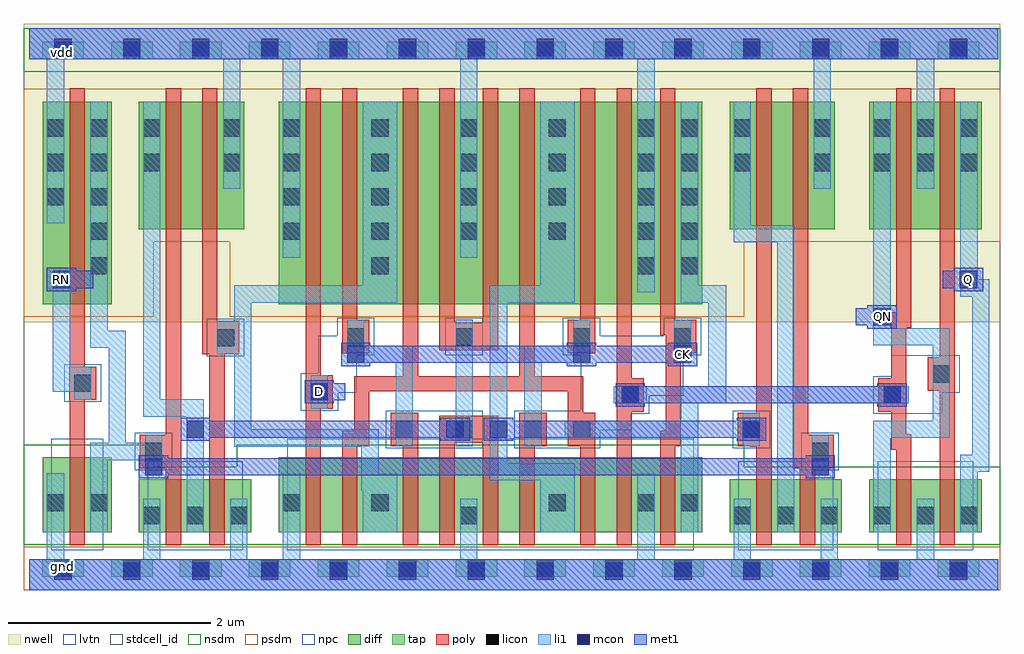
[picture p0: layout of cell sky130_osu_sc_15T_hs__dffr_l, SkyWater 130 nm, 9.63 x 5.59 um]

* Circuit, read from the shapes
.subckt sky130_osu_sc_15T_hs__dffr_l CK D Q QN RN gnd vdd
XM1 n1 RN gnd gnd sky130_fd_pr__nfet_01v8_lvt w=0.74 l=0.15
XM2 n2 n1 gnd gnd sky130_fd_pr__nfet_01v8_lvt w=0.52 l=0.15
XM3 gnd n3 n2 gnd sky130_fd_pr__nfet_01v8_lvt w=0.52 l=0.15
XM4 n4 D gnd gnd sky130_fd_pr__nfet_01v8_lvt w=0.74 l=0.15
XM5 n3 n5 n4 gnd sky130_fd_pr__nfet_01v8_lvt w=0.74 l=0.15
XM6 n6 CK n3 gnd sky130_fd_pr__nfet_01v8_lvt w=0.74 l=0.15
XM7 gnd n2 n6 gnd sky130_fd_pr__nfet_01v8_lvt w=0.74 l=0.15
XM8 n7 n2 gnd gnd sky130_fd_pr__nfet_01v8_lvt w=0.74 l=0.15
XM9 n8 CK n7 gnd sky130_fd_pr__nfet_01v8_lvt w=0.74 l=0.15
XM10 n9 n5 n8 gnd sky130_fd_pr__nfet_01v8_lvt w=0.74 l=0.15
XM11 gnd n10 n9 gnd sky130_fd_pr__nfet_01v8_lvt w=0.74 l=0.15
XM12 n5 CK gnd gnd sky130_fd_pr__nfet_01v8_lvt w=0.74 l=0.15
XM13 n10 n8 gnd gnd sky130_fd_pr__nfet_01v8_lvt w=0.52 l=0.15
XM14 gnd n1 n10 gnd sky130_fd_pr__nfet_01v8_lvt w=0.52 l=0.15
XM15 gnd n10 QN gnd sky130_fd_pr__nfet_01v8_lvt w=0.52 l=0.15
XM16 Q QN gnd gnd sky130_fd_pr__nfet_01v8_lvt w=0.52 l=0.15
XM17 n1 RN vdd vdd sky130_fd_pr__pfet_01v8 w=2 l=0.15
XM18 n11 n1 n2 vdd sky130_fd_pr__pfet_01v8 w=1.26 l=0.15
XM19 vdd n3 n11 vdd sky130_fd_pr__pfet_01v8 w=1.26 l=0.15
XM20 n12 D vdd vdd sky130_fd_pr__pfet_01v8 w=2 l=0.15
XM21 n3 CK n12 vdd sky130_fd_pr__pfet_01v8 w=2 l=0.15
XM22 n13 n5 n3 vdd sky130_fd_pr__pfet_01v8 w=2 l=0.15
XM23 vdd n2 n13 vdd sky130_fd_pr__pfet_01v8 w=2 l=0.15
XM24 n14 n2 vdd vdd sky130_fd_pr__pfet_01v8 w=2 l=0.15
XM25 n8 n5 n14 vdd sky130_fd_pr__pfet_01v8 w=2 l=0.15
XM26 n15 CK n8 vdd sky130_fd_pr__pfet_01v8 w=2 l=0.15
XM27 vdd n10 n15 vdd sky130_fd_pr__pfet_01v8 w=2 l=0.15
XM28 n5 CK vdd vdd sky130_fd_pr__pfet_01v8 w=2 l=0.15
XM29 n16 n8 n10 vdd sky130_fd_pr__pfet_01v8 w=1.26 l=0.15
XM30 vdd n1 n16 vdd sky130_fd_pr__pfet_01v8 w=1.26 l=0.15
XM31 vdd n10 QN vdd sky130_fd_pr__pfet_01v8 w=1.26 l=0.15
XM32 Q QN vdd vdd sky130_fd_pr__pfet_01v8 w=1.26 l=0.15
.ends

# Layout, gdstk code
import gdstk
lib = gdstk.Library(unit=1e-6, precision=1e-09)
def R(c, l, rs):  # rectangles x0, y0, x1, y1
    for r in rs: c.add(gdstk.rectangle(r[:2], r[2:], *l))
def A(c, l, x, y, w, h, nx, ny, dx, dy):  # array of equal rectangles
    R(c, l, [(x+i*dx, y+j*dy, x+i*dx+w, y+j*dy+h) for i in range(nx) for j in range(ny)])
nwell = (64, 20)
diff = (65, 20)
tap = (65, 44)
poly = (66, 20)
licon = (66, 44)
li1 = (67, 20)
mcon = (67, 44)
met1 = (68, 20)
stdcell_id = (81, 4)
nsdm = (93, 44)
psdm = (94, 20)
npc = (95, 20)
lvtn = (125, 44)

sky130_osu_sc_15t_hs__df = lib.new_cell('sky130_osu_sc_15T_hs__dffr_l')
R(sky130_osu_sc_15t_hs__df, nwell, [(-0.05,2.645,9.585,5.595)])
R(sky130_osu_sc_15t_hs__df, diff, [(0.135,0.575,0.815,1.315), (1.085,0.575,2.195,1.095), (2.465,0.575,6.645,1.315), (6.915,0.575,8.025,1.095), (8.295,0.575,9.405,1.095), (0.135,2.825,0.815,4.825), (2.465,2.825,6.645,4.825), (1.085,3.565,2.125,4.825), (6.915,3.565,7.955,4.825), (8.295,3.565,9.405,4.825)])
A(sky130_osu_sc_15t_hs__df, tap, 0.13, 0.135, 0.41, 0.17, 14, 2, 0.68, 5.11)
R(sky130_osu_sc_15t_hs__df, poly, [(0.4,0.445,0.55,1.875), (1.35,0.445,1.5,1.205), (1.78,0.445,1.93,2.33), (2.73,0.445,2.88,1.795), (3.09,0.445,3.24,1.425), (3.69,0.445,3.84,1.425), (4.05,0.445,4.2,1.455), (4.48,0.445,4.63,1.455), (4.84,0.445,4.99,1.425), (5.44,0.445,5.59,1.425), (5.8,0.445,5.95,1.765), (6.23,0.445,6.38,1.425), (7.18,0.445,7.33,1.42), (7.61,0.445,7.76,1.205), (8.56,0.445,8.71,1.39), (8.99,0.445,9.14,1.97), (1.095,1.205,1.5,1.535), (7.54,1.205,7.945,1.535), (8.51,1.39,8.71,1.54), (7.115,1.42,7.33,1.425), (3.09,1.425,3.36,1.575), (3.57,1.425,3.84,1.755), (4.84,1.425,5.11,1.755), (5.32,1.425,5.59,1.755), (6.23,1.425,6.435,1.575), (6.995,1.425,7.33,1.755), (4.05,1.455,4.63,1.725), (1.35,1.535,1.5,4.955), (7.54,1.535,7.69,4.955), (8.51,1.54,8.66,1.765), (3.21,1.575,3.36,1.965), (6.285,1.575,6.435,2.34), (5.32,1.755,5.47,1.965), (7.18,1.755,7.33,4.955), (5.8,1.765,6.07,2.095), (8.385,1.765,8.66,2.095), (2.73,1.795,3,2.125), (0.395,1.875,0.55,1.88), (0.395,1.88,0.665,2.21), (3.21,1.965,5.47,2.115), (8.87,1.97,9.14,2.3), (5.8,2.095,5.95,4.955), (8.51,2.095,8.66,2.595), (3.69,2.115,3.84,4.955), (4.84,2.115,4.99,4.955), (2.73,2.125,2.88,4.955), (0.4,2.21,0.55,4.955), (8.99,2.3,9.14,4.955), (1.71,2.33,2.075,2.66), (3.09,2.34,3.36,2.67), (5.32,2.34,5.59,2.67), (6.285,2.34,6.585,2.52), (4.05,2.37,4.63,2.64), (6.23,2.52,6.585,2.67), (8.51,2.595,8.71,2.745), (4.05,2.64,4.2,4.955), (4.48,2.64,4.63,4.955), (1.71,2.66,1.86,4.955), (3.09,2.67,3.24,4.955), (5.44,2.67,5.59,4.955), (6.23,2.67,6.38,4.955), (8.56,2.745,8.71,4.955)])
A(sky130_osu_sc_15t_hs__df, licon, 0.25, 0.135, 0.17, 0.17, 14, 2, 0.68, 5.11)
A(sky130_osu_sc_15t_hs__df, licon, 1.125, 0.655, 0.17, 0.17, 3, 1, 0.43, 0)
A(sky130_osu_sc_15t_hs__df, licon, 6.955, 0.655, 0.17, 0.17, 3, 1, 0.43, 0)
A(sky130_osu_sc_15t_hs__df, licon, 8.335, 0.655, 0.17, 0.17, 3, 2, 0.43, 3.485)
A(sky130_osu_sc_15t_hs__df, licon, 0.605, 3.12, 0.17, 0.17, 1, 5, 0, 0.34)
A(sky130_osu_sc_15t_hs__df, licon, 6.435, 3.12, 0.17, 0.17, 1, 5, 0, 0.34)
A(sky130_osu_sc_15t_hs__df, licon, 2.505, 3.46, 0.17, 0.17, 5, 4, 0.875, 0.34)
A(sky130_osu_sc_15t_hs__df, licon, 0.175, 3.8, 0.17, 0.17, 1, 3, 0, 0.34)
A(sky130_osu_sc_15t_hs__df, licon, 8.335, 4.48, 0.17, 0.17, 3, 1, 0.43, 0)
R(sky130_osu_sc_15t_hs__df, licon, [(4.255,0.655,4.425,0.825), (0.175,0.78,0.345,0.95), (0.605,0.78,0.775,0.95), (2.505,0.78,2.675,0.95), (3.38,0.78,3.55,0.95), (5.13,0.78,5.3,0.95), (6.005,0.78,6.175,0.95), (6.435,0.78,6.605,0.95), (1.145,1.285,1.315,1.455), (7.725,1.285,7.895,1.455), (3.62,1.505,3.79,1.675), (4.21,1.505,4.38,1.675), (4.89,1.505,5.06,1.675), (5.37,1.505,5.54,1.675), (7.045,1.505,7.215,1.675), (5.85,1.845,6.02,2.015), (8.435,1.845,8.605,2.015), (2.78,1.875,2.95,2.045), (0.445,1.96,0.615,2.13), (8.92,2.05,9.09,2.22), (1.855,2.41,2.025,2.58), (3.14,2.42,3.31,2.59), (4.21,2.42,4.38,2.59), (5.37,2.42,5.54,2.59), (6.365,2.42,6.535,2.59), (3.38,3.12,3.55,3.29), (6.005,3.12,6.175,3.29), (1.125,4.14,1.295,4.31), (1.915,4.14,2.085,4.31), (6.955,4.14,7.125,4.31), (7.745,4.14,7.915,4.31), (1.125,4.48,1.295,4.65), (1.915,4.48,2.085,4.65), (6.955,4.48,7.125,4.65), (7.745,4.48,7.915,4.65)])
R(sky130_osu_sc_15t_hs__df, li1, [(0,0,9.57,0.305), (0.175,0.305,0.345,1.155), (1.125,0.305,1.295,0.905), (1.985,0.305,2.155,0.905), (2.505,0.305,2.675,1.155), (4.255,0.305,4.425,0.905), (6.005,0.305,6.175,1.155), (6.955,0.305,7.125,0.905), (7.815,0.305,7.985,0.905), (8.765,0.305,8.935,0.905), (0.605,0.575,0.775,1.285), (1.555,0.575,1.725,1.715), (3.295,0.575,3.635,0.985), (5.045,0.575,5.385,1.085), (6.435,0.575,6.605,1.505), (7.385,0.575,7.555,1.845), (8.335,0.575,8.505,1.505), (9.195,0.575,9.365,1.17), (3.28,0.985,3.635,1.155), (4.55,1.085,5.385,1.255), (1.145,1.135,1.315,1.285), (7.725,1.135,7.895,1.535), (3.28,1.155,3.45,1.42), (9.195,1.17,9.48,1.34), (4.55,1.255,4.72,2.84), (0.605,1.285,1.315,1.455), (9.31,1.34,9.48,2.9), (2.025,1.42,3.45,1.59), (3.62,1.425,3.79,2.245), (4.21,1.425,4.38,1.505), (4.89,1.425,5.06,2.245), (7.045,1.425,7.215,1.755), (0.785,1.455,0.955,2.395), (1.145,1.455,1.315,1.535), (4.12,1.505,4.38,1.675), (5.29,1.505,6.605,1.675), (8.335,1.505,9.09,1.675), (2.025,1.59,2.195,2.33), (4.21,1.675,4.38,2.67), (6.435,1.675,6.605,1.845), (8.92,1.675,9.09,2.42), (1.125,1.715,1.725,1.885), (2.78,1.795,2.95,2.125), (5.77,1.845,6.1,2.015), (6.435,1.845,6.885,2.015), (7.385,1.845,8.685,2.015), (0.445,1.88,0.615,1.96), (1.125,1.885,1.295,4.825), (0.235,1.96,0.615,2.21), (6.705,2.015,6.885,2.84), (7.385,2.015,7.555,3.435), (0.235,2.21,0.405,3.155), (3.14,2.245,3.79,2.415), (4.89,2.245,5.54,2.415), (6.365,2.245,6.535,2.67), (1.855,2.33,2.195,2.66), (0.605,2.395,0.955,2.565), (3.14,2.415,3.31,2.67), (5.37,2.415,5.54,2.67), (8.335,2.42,9.09,2.59), (0.605,2.565,0.775,4.825), (8.335,2.59,8.505,4.825), (2.025,2.66,2.195,2.84), (2.025,2.84,3.635,3.01), (4.55,2.84,5.385,3.01), (6.435,2.84,6.885,3.01), (9.195,2.9,9.48,2.985), (6.005,2.945,6.175,5.245), (9.19,2.985,9.48,3.07), (3.295,3.01,3.635,4.825), (5.045,3.01,5.385,4.825), (6.435,3.01,6.605,4.825), (9.19,3.07,9.365,3.155), (9.195,3.155,9.365,4.825), (2.505,3.285,2.675,5.245), (4.255,3.285,4.425,5.245), (6.955,3.435,7.555,3.605), (6.955,3.605,7.125,4.825), (0.175,3.625,0.345,5.245), (1.915,3.965,2.085,5.245), (7.745,3.965,7.915,5.245), (8.765,3.965,8.935,5.245), (0,5.245,9.57,5.55)])
A(sky130_osu_sc_15t_hs__df, mcon, 0.25, 0.105, 0.17, 0.17, 14, 2, 0.68, 5.17)
R(sky130_osu_sc_15t_hs__df, mcon, [(1.145,1.135,1.315,1.305), (7.725,1.135,7.895,1.305), (1.555,1.505,1.725,1.675), (4.12,1.505,4.29,1.675), (4.55,1.505,4.72,1.675), (7.045,1.505,7.215,1.675), (5.85,1.845,6.02,2.015), (8.435,1.845,8.605,2.015), (2.78,1.875,2.95,2.045), (3.14,2.245,3.31,2.415), (5.37,2.245,5.54,2.415), (6.365,2.245,6.535,2.415), (8.335,2.615,8.505,2.785), (0.235,2.985,0.405,3.155), (9.19,2.985,9.36,3.155)])
R(sky130_osu_sc_15t_hs__df, met1, [(0,0,9.57,0.305), (1.085,1.105,1.375,1.135), (7.665,1.105,7.955,1.135), (1.085,1.135,7.955,1.305), (1.085,1.305,1.375,1.335), (7.665,1.305,7.955,1.335), (1.495,1.475,1.785,1.505), (4.06,1.475,4.35,1.505), (4.49,1.475,4.78,1.505), (6.985,1.475,7.275,1.505), (1.495,1.505,4.35,1.675), (4.49,1.505,7.275,1.675), (1.495,1.675,1.785,1.705), (4.06,1.675,4.35,1.705), (4.49,1.675,4.78,1.705), (6.985,1.675,7.275,1.705), (5.79,1.815,6.08,1.845), (8.375,1.815,8.665,1.845), (2.72,1.845,3.01,1.875), (5.79,1.845,8.665,2.015), (2.72,1.875,3.12,2.045), (5.79,2.015,6.08,2.045), (8.375,2.015,8.665,2.045), (2.72,2.045,3.01,2.075), (3.08,2.215,3.37,2.245), (5.31,2.215,5.6,2.245), (6.305,2.215,6.595,2.245), (3.08,2.245,6.595,2.415), (3.08,2.415,3.37,2.445), (5.31,2.415,5.6,2.445), (6.305,2.415,6.595,2.445), (8.275,2.585,8.565,2.615), (8.16,2.615,8.565,2.785), (8.275,2.785,8.565,2.815), (0.175,2.955,0.465,2.985), (9.13,2.955,9.42,2.985), (0.175,2.985,0.635,3.155), (9.02,2.985,9.42,3.155), (0.175,3.155,0.465,3.185), (9.13,3.155,9.42,3.185), (0,5.245,9.57,5.55)])
R(sky130_osu_sc_15t_hs__df, stdcell_id, [(-0.05,0,9.585,5.55)])
R(sky130_osu_sc_15t_hs__df, nsdm, [(-0.05,0.45,9.585,1.22), (-0.05,1.22,1.23,1.44), (2.05,1.22,7.06,1.44), (-0.05,5.12,9.585,5.55)])
R(sky130_osu_sc_15t_hs__df, psdm, [(-0.05,0,9.585,0.43), (-0.05,2.7,1.23,3.44), (1.98,2.7,7.06,3.44), (-0.05,3.44,9.585,4.95)])
R(sky130_osu_sc_15t_hs__df, npc, [(1.045,1.185,1.415,1.555), (7.625,1.185,7.995,1.555), (3.52,1.405,4.48,1.775), (4.79,1.405,5.64,1.58), (6.945,1.405,7.315,1.775), (4.79,1.58,5.945,1.745), (4.79,1.745,6.12,1.775), (8.335,1.745,9.015,1.95), (2.68,1.775,3.05,1.95), (5.445,1.775,6.12,1.92), (0.345,1.86,0.715,2.23), (5.445,1.92,6.46,2.32), (2.68,1.95,3.235,2.145), (8.335,1.95,9.19,2.115), (8.51,2.115,9.19,2.32), (2.855,2.145,3.235,2.32), (1.755,2.31,2.125,2.68), (2.855,2.32,3.41,2.515), (4.11,2.32,4.48,2.69), (5.27,2.32,6.635,2.515), (3.04,2.515,3.41,2.69), (5.27,2.515,5.64,2.69), (6.265,2.515,6.635,2.69)])
R(sky130_osu_sc_15t_hs__df, lvtn, [(0.22,0.395,0.73,1.495), (1.17,0.395,2.11,1.275), (2.55,0.395,6.56,1.495), (7,0.395,7.94,1.275), (8.38,0.395,9.32,1.275)])
sky130_osu_sc_15t_hs__df.add(gdstk.Label('gnd', (0.335,0.24), layer=68, texttype=16))
sky130_osu_sc_15t_hs__df.add(gdstk.Label('vdd', (0.335,5.31), layer=68, texttype=16))
sky130_osu_sc_15t_hs__df.add(gdstk.Label('RN', (0.325,3.07), layer=68, texttype=5))
sky130_osu_sc_15t_hs__df.add(gdstk.Label('D', (2.865,1.96), layer=68, texttype=5))
sky130_osu_sc_15t_hs__df.add(gdstk.Label('CK', (6.45,2.33), layer=68, texttype=5))
sky130_osu_sc_15t_hs__df.add(gdstk.Label('Q', (9.275,3.07), layer=68, texttype=5))
sky130_osu_sc_15t_hs__df.add(gdstk.Label('QN', (8.425,2.7), layer=68, texttype=5))

lib.write_gds('sky130_osu_sc_15T_hs__dffr_l.gds')
